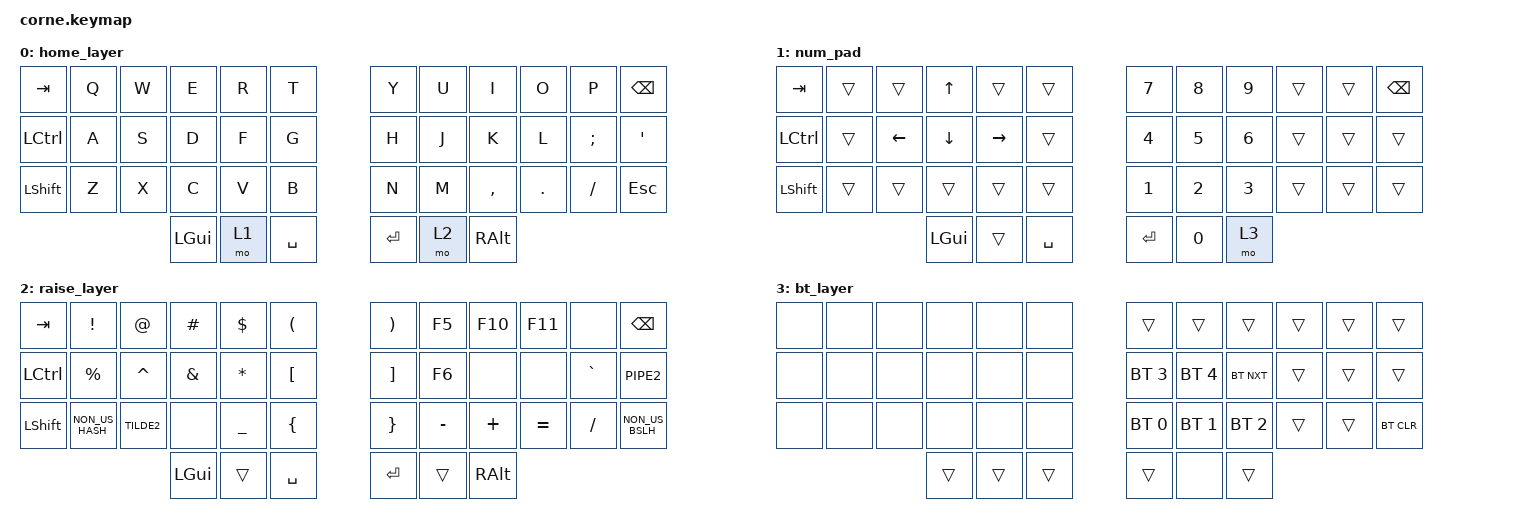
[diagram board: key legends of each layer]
/*
 * Copyright (c) 2020 The ZMK Contributors
 *
 * SPDX-License-Identifier: MIT
 */

#include <behaviors.dtsi>
#include <dt-bindings/zmk/bt.h>
#include <dt-bindings/zmk/keys.h>

/ {
    keymap {
        compatible = "zmk,keymap";

        home_layer {
            // -----------------------------------------------------------------------------------------
            // |  TAB |  Q  |  W  |  E  |  R  |  T  |   |  Y  |  U   |  I  |  O  |  P  | BKSP |
            // | SHFT |  A  |  S  |  D  |  F  |  G  |   |  H  |  J   |  K  |  L  |  ;  |  '   |
            // | CTRL |  Z  |  X  |  C  |  V  |  B  |   |  N  |  M   |  ,  |  .  |  /  | ESC  |
            //                    | GUI | LWR | SPC |   | ENT | RSE  | ALT |

            bindings = <
&kp TAB     &kp Q  &kp W  &kp E     &kp R  &kp T        &kp Y    &kp U  &kp I      &kp O    &kp P     &kp BSPC
&kp LCTRL   &kp A  &kp S  &kp D     &kp F  &kp G        &kp H    &kp J  &kp K      &kp L    &kp SEMI  &kp SQT
&kp LSHIFT  &kp Z  &kp X  &kp C     &kp V  &kp B        &kp N    &kp M  &kp COMMA  &kp DOT  &kp FSLH  &kp ESC
                          &kp LGUI  &mo 1  &kp SPACE    &kp RET  &mo 2  &kp RALT
            >;
        };

        num_pad {
            // -----------------------------------------------------------------------------------------
            // |  TAB |BTCLR|     | UP  |     |     |   |  7  |  8  |  9  |     |     | BKSP |
            // | SHFT |     | LFT | DWN | RGT |     |   |  4  |  5  |  6  |     |     |      |
            // | CTRL | BT1 | BT2 | BT3 | BT4 | BT5 |   |  1  |  2  |  3  |     |     |      |
            //                    | GUI |     | SPC |   | ENT |  0  | ALT |

            bindings = <
&kp TAB    &trans  &trans    &kp UP    &trans     &trans       &kp N7   &kp N8  &kp N9  &trans  &trans  &kp BSPC
&kp LCTRL  &trans  &kp LEFT  &kp DOWN  &kp RIGHT  &trans       &kp N4   &kp N5  &kp N6  &trans  &trans  &trans
&kp LSHFT  &trans  &trans    &trans    &trans     &trans       &kp N1   &kp N2  &kp N3  &trans  &trans  &trans
                             &kp LGUI  &trans     &kp SPACE    &kp RET  &kp N0  &mo 3
            >;
        };

        raise_layer {
            // -----------------------------------------------------------------------------------------
            // |  TAB |  !  |  @  |  #  |  $  |  %  |   |  ^  |  &  |  *  |  (  |  )  | BKSP |
            // | CTRL |     |     |     |     |     |   |  -  |  =  |  [  |  ]  |  \  |  `   |
            // | SHFT |     |     |     |     |     |   |  _  |  +  |  {  |  }  | "|" |  ~   |
            //                    | GUI |     | SPC |   | ENT |     | ALT |

            bindings = <
&kp TAB    &kp EXCL         &kp AT      &kp HASH  &kp DLLR        &kp LPAR     &kp RPAR  &kp F5     &kp F10   &kp F11    &none      &kp BSPC
&kp LCTRL  &kp PRCNT        &kp CARET   &kp AMPS  &kp ASTRK       &kp LBKT     &kp RBKT  &kp F6     &none     &none      &kp GRAVE  &kp PIPE2
&kp LSHFT  &kp NON_US_HASH  &kp TILDE2  &none     &kp UNDERSCORE  &kp LBRC     &kp RBRC  &kp MINUS  &kp PLUS  &kp EQUAL  &kp FSLH   &kp NON_US_BSLH
                                        &kp LGUI  &trans          &kp SPACE    &kp RET   &trans     &kp RALT
            >;
        };

        bt_layer {
            bindings = <
&none  &none  &none  &none   &none   &none     &trans        &trans        &trans        &trans  &trans  &trans
&none  &none  &none  &none   &none   &none     &bt BT_SEL 3  &bt BT_SEL 4  &bt BT_NXT    &trans  &trans  &trans
&none  &none  &none  &none   &none   &none     &bt BT_SEL 0  &bt BT_SEL 1  &bt BT_SEL 2  &trans  &trans  &bt BT_CLR
                     &trans  &trans  &trans    &trans        &none         &trans
            >;
        };
    };
};
